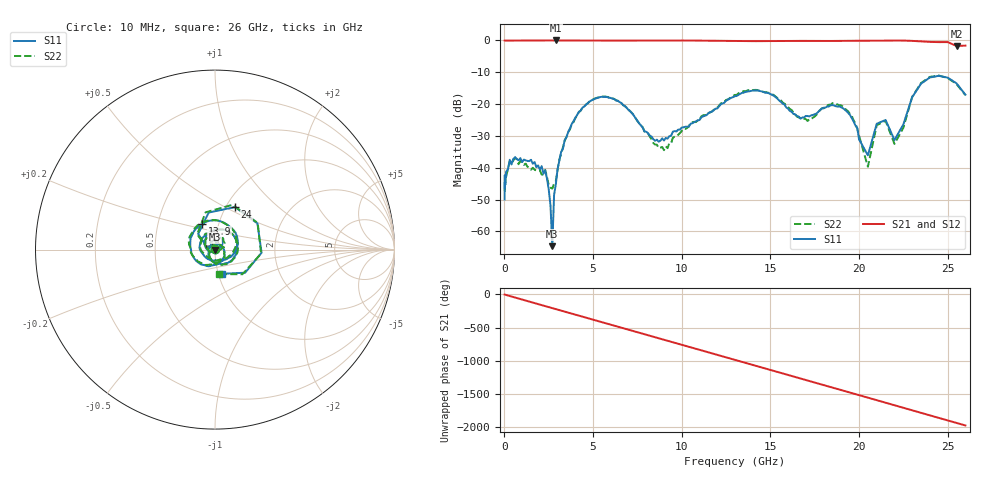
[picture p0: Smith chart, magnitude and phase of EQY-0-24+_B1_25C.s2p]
!Keysight	Technologies	N5244A	MY52442000	A.10.40.14
!Date:	Thursday	February	14	2019	19:00:01
!Correction:	S11(Full	2	Port(1	2))
!S21(Full	2	Port(1	2))
!S12(Full	2	Port(1	2))
!S22(Full	2	Port(1	2))
!S2P	File:	Measurements:	S11	S21	S12	S22:
#	Hz	S	dB	R	50
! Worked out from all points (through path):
!   221 points, 10 MHz to 26 GHz, reference 50 ohm
!   highest |S21| = -0.01 dB at 2.9 GHz (marker M1); lowest = -1.7 dB at 25.5 GHz (marker M2)
!   lowest |S11| = -64.7 dB at 2.7 GHz (marker M3), VSWR 1.00, Z = 50.1 + j0.0253 ohm
!   |S11| at or under -10 dB: start of sweep to end of sweep
!   |S22| runs from -47.7 to -11.0 dB; largest |S21 - S12| = 0.0023
!   S11 on the Smith chart (normalised r, x): 10 MHz: 1.00, +0.01; 13.9 GHz: 0.84, +0.25; 24 GHz: 1.10, +0.56; 26 GHz: 1.04, -0.29
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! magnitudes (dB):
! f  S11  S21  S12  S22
! 10 MHz  -50.0  0.0  0.0  -44.6
! 20 MHz  -42.4  -0.1  0.0  -47.7
! 300 MHz  -37.5  0.0  0.0  -38.0
! 2.1 GHz  -39.5  0.0  0.0  -42.1
! 2.5 GHz  -46.9  0.0  0.0  -45.6
! 2.7 GHz  -64.7  0.0  0.0  -46.6
! 2.8 GHz  -48.6  0.0  0.0  -45.0
! 2.9 GHz  -45.1  0.0  0.0  -44.2
! 3.4 GHz  -31.3  0.0  0.0  -31.5
! 4.4 GHz  -21.1  -0.1  -0.1  -21.1
! 6.5 GHz  -19.4  -0.1  -0.1  -19.2
! 8.7 GHz  -31.8  0.0  0.0  -33.8
! 13.1 GHz  -17.5  -0.2  -0.2  -17.1
! 13.9 GHz  -15.9  -0.2  -0.2  -15.6
! 17.4 GHz  -23.4  -0.1  -0.1  -24.3
! 19.1 GHz  -21.3  -0.1  -0.1  -20.8
! 20.5 GHz  -36.1  -0.1  -0.1  -39.7
! 21 GHz  -26.2  -0.1  -0.1  -26.7
! 22 GHz  -31.3  0.0  0.0  -32.5
! 24 GHz  -11.6  -0.5  -0.5  -11.4
! 25.5 GHz  -13.5  -1.7  -1.7  -13.7
! 26 GHz  -17.1  -1.6  -1.6  -17.2
